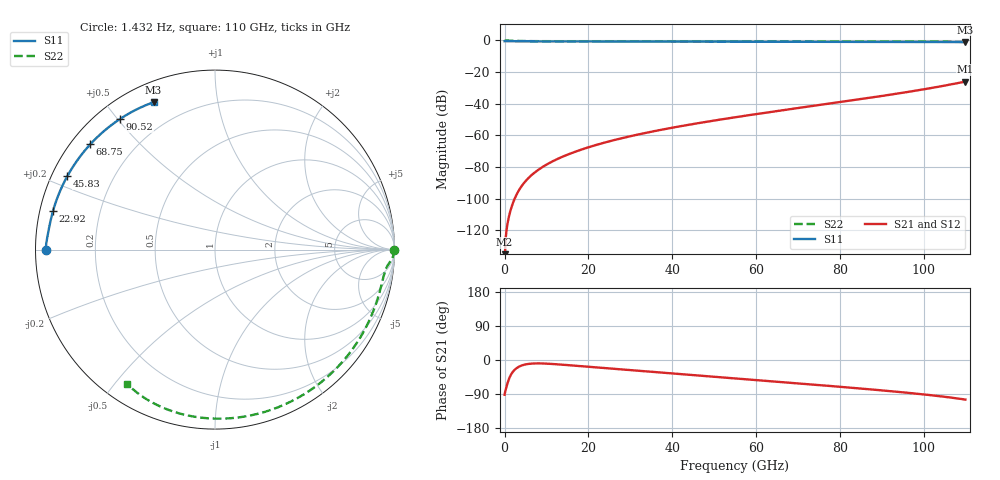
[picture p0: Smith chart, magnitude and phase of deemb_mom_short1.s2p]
! Created Tue Apr 13 08:48:08 2010
# hz S ma R 50
! 2 Port Network Data from data block
! freq  magS11  angS11  magS21  angS21  magS12  angS12  magS22  angS22
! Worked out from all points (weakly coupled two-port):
!   148 points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, 1.432 Hz to 110 GHz, reference 50 ohm
!   highest |S21| = -25.97 dB at 110 GHz (marker M1); lowest = -190.5 dB at 143.2 kHz (marker M2)
!   lowest |S11| = -1.0 dB at 110 GHz (marker M3), VSWR 17.07, Z = 4.23 + j33.2 ohm
!   |S11| at or under -10 dB: nowhere
!   |S22| runs from -1.0 to 0.0 dB; largest |S21 - S12| = 0
!   S11 on the Smith chart (normalised r, x): 1.432 Hz: 0.03, +0.00; 22.92 GHz: 0.04, +0.12; 45.83 GHz: 0.04, +0.24; 68.75 GHz: 0.05, +0.36; 90.52 GHz: 0.07, +0.51; 110 GHz: 0.08, +0.66
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1.432292  0.9425 180.0  2.989e-15 -91.7  2.989e-15 -91.7  1 -0.0
143229.2  0.9425 180.0  2.987e-10 -90.0  2.987e-10 -90.0  1 -0.0
2.148438e9  0.9416 178.6  8.315e-06 -28.8  8.315e-06 -28.8  0.9768 -4.0
8.59375e9  0.9351 174.7  9.171e-05 -9.0  9.171e-05 -9.0  0.9493 -10.6
9.166667e9  0.9346 174.4  0.0001026 -9.2  0.0001026 -9.2  0.9488 -11.2
1.145833e10  0.933 173.1  0.0001516 -10.5  0.0001516 -10.5  0.9476 -13.7
1.375e10  0.9317 171.8  0.0002099 -12.4  0.0002099 -12.4  0.9469 -16.2
1.604167e10  0.9306 170.5  0.0002781 -14.4  0.0002781 -14.4  0.9465 -18.7
1.947917e10  0.9291 168.6  0.0004 -17.5  0.0004 -17.5  0.9461 -22.5
2.291667e10  0.9278 166.6  0.0005475 -20.6  0.0005475 -20.6  0.946 -26.3
2.979167e10  0.9252 162.7  0.0009283 -26.7  0.0009283 -26.7  0.946 -33.8
3.666667e10  0.9225 158.8  0.001443 -32.7  0.001443 -32.7  0.9461 -41.4
4.583333e10  0.9188 153.5  0.00239 -40.7  0.00239 -40.7  0.9463 -51.2
5.614583e10  0.9145 147.4  0.003942 -49.6  0.003942 -49.6  0.9463 -62.2
6.875e10  0.9094 139.8  0.006908 -60.6  0.006908 -60.6  0.9454 -75.4
7.447917e10  0.907 136.3  0.00885 -65.7  0.00885 -65.7  0.9444 -81.3
8.25e10  0.9035 131.3  0.01254 -72.9  0.01254 -72.9  0.9419 -89.7
9.052083e10  0.8999 126.1  0.01798 -80.6  0.01798 -80.6  0.9372 -98.3
9.166667e10  0.8993 125.3  0.01896 -81.8  0.01896 -81.8  0.9362 -99.6
1.015972e11  0.8945 118.6  0.03099 -92.7  0.03099 -92.7  0.9226 -111.3
1.061806e11  0.8919 115.4  0.03994 -98.6  0.03994 -98.6  0.9103 -117.5
1.1e11  0.8893 112.6  0.05032 -104.4  0.05032 -104.4  0.8935 -123.3
